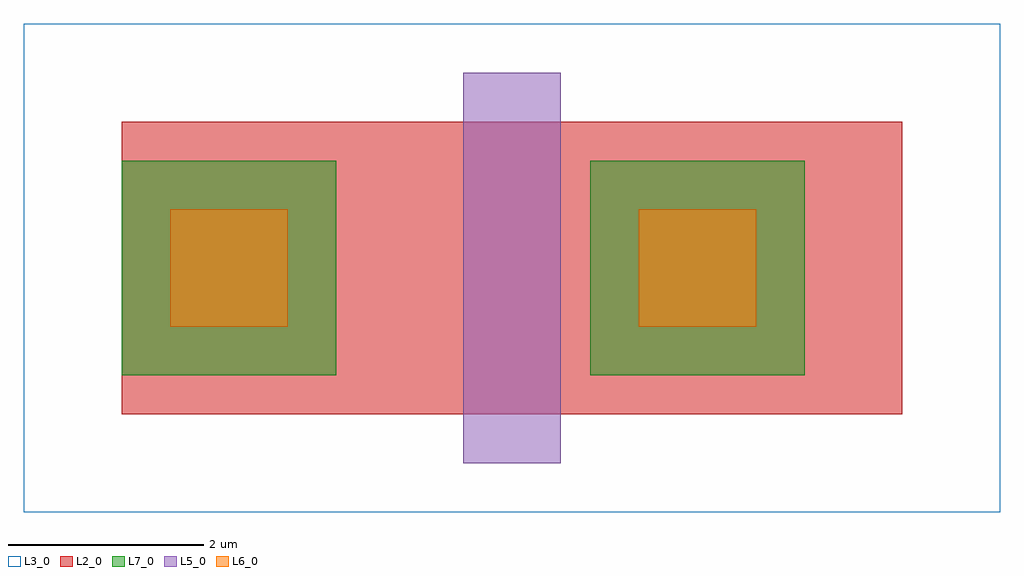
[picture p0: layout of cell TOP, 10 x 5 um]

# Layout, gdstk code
import gdstk
lib = gdstk.Library(unit=1e-6, precision=1e-09)
def R(c, l, rs):  # rectangles x0, y0, x1, y1
    for r in rs: c.add(gdstk.rectangle(r[:2], r[2:], *l))
L2_0 = (2, 0)
L3_0 = (3, 0)
L5_0 = (5, 0)
L6_0 = (6, 0)
L7_0 = (7, 0)

top = lib.new_cell('TOP')
R(top, L2_0, [(0,0,8,3)])
R(top, L3_0, [(-1,-1,9,4)])
R(top, L5_0, [(3.5,-0.5,4.5,3.5)])
R(top, L6_0, [(0.5,0.9,1.7,2.1), (5.3,0.9,6.5,2.1)])
R(top, L7_0, [(0,0.4,2.2,2.6), (4.8,0.4,7,2.6)])

lib.write_gds('TOP.gds')
